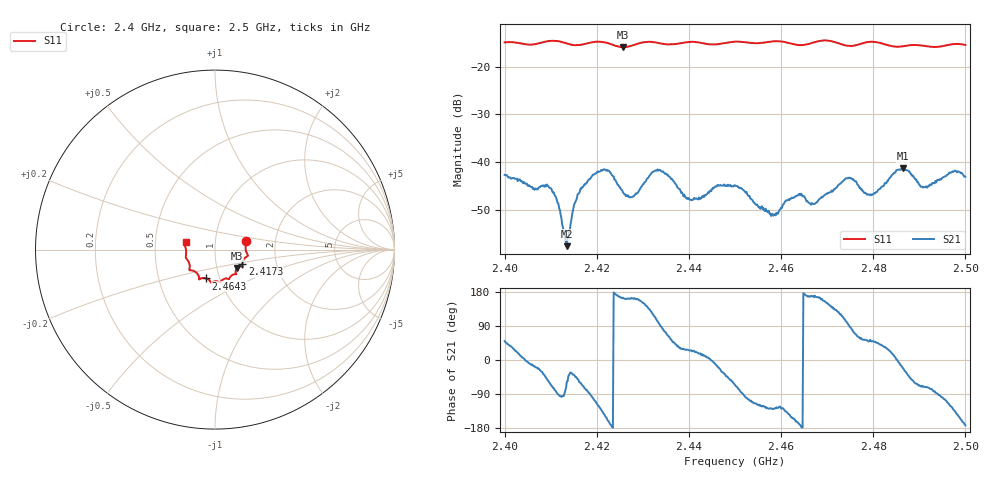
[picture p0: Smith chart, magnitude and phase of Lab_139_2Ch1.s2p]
# Hz S RI R 50
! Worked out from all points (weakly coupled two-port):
!   601 points, 2.4 GHz to 2.5 GHz, reference 50 ohm
!   highest |S21| = -41.29 dB at 2.4865 GHz (marker M1); lowest = -57.6 dB at 2.4135 GHz (marker M2)
!   lowest |S11| = -15.9 dB at 2.4257 GHz (marker M3), VSWR 1.38, Z = 62.5 - j13.1 ohm
!   |S11| at or under -10 dB: start of sweep to end of sweep
!   S12 and S22 are empty: the file has one direction only
!   S11 on the Smith chart (normalised r, x): 2.4 GHz: 1.41, +0.14; 2.4173 GHz: 1.34, -0.23; 2.4643 GHz: 0.86, -0.28; 2.5 GHz: 0.72, +0.06
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2.4e9  0.1732 0.0491  0.00473 0.00562  0 0  0 0
2.409667e9  0.1832 -0.0314  0.0028 -0.00463  0 0  0 0
2.4115e9  0.1821 -0.0357  2.34e-05 -0.00374  0 0  0 0
2.4135e9  0.1698 -0.0437  0.000715 -0.00111  0 0  0 0
2.416667e9  0.1528 -0.0745  0.00241 -0.00469  0 0  0 0
2.417333e9  0.1522 -0.0819  0.0016 -0.00564  0 0  0 0
2.422e9  0.1515 -0.0947  -0.00715 -0.00395  0 0  0 0
2.425667e9  0.1227 -0.1025  -0.00467 0.00131  0 0  0 0
2.427833e9  0.1148 -0.122  -0.00416 0.00132  0 0  0 0
2.433333e9  0.113 -0.1366  -0.00142 0.008  0 0  0 0
2.440333e9  0.079 -0.164  0.00364 0.00173  0 0  0 0
2.45e9  0.0293 -0.1808  0.00236 -0.00521  0 0  0 0
2.458333e9  -0.0196 -0.1835  -0.00174 -0.00212  0 0  0 0
2.464333e9  -0.0499 -0.1607  -0.00466 -0.000321  0 0  0 0
2.466667e9  -0.0761 -0.1598  -0.00364 0.000794  0 0  0 0
2.474333e9  -0.1 -0.1323  -0.00102 0.0067  0 0  0 0
2.479167e9  -0.1412 -0.115  0.00294 0.00349  0 0  0 0
2.483333e9  -0.1408 -0.0902  0.00592 0.00295  0 0  0 0
2.4865e9  -0.1527 -0.0594  0.00798 -0.00327  0 0  0 0
2.490833e9  -0.1622 -0.0354  0.00191 -0.00506  0 0  0 0
2.4975e9  -0.1704 0.0286  -0.0054 -0.00591  0 0  0 0
2.5e9  -0.1636 0.0418  -0.00697 -0.000943  0 0  0 0
